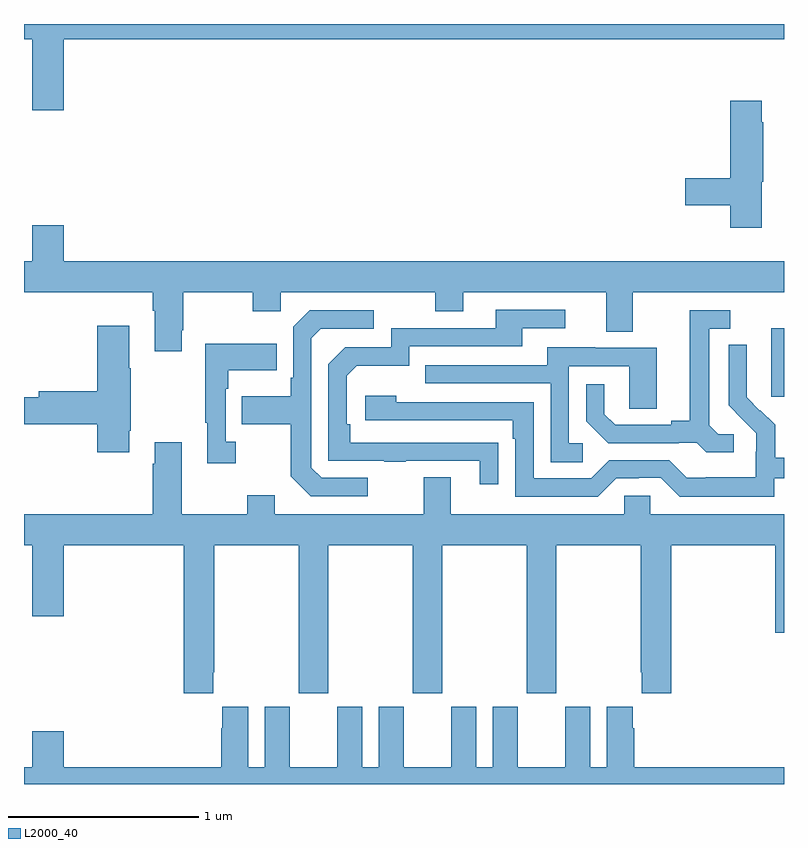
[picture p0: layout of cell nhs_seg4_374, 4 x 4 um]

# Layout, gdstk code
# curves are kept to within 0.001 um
import gdstk
lib = gdstk.Library(unit=1e-6, precision=1e-09)
def R(c, l, rs):  # rectangles x0, y0, x1, y1
    for r in rs: c.add(gdstk.rectangle(r[:2], r[2:], *l))
def P(c, l, *ps):  # polygons
    for p in ps: c.add(gdstk.Polygon(p, *l))
L2000_40 = (2000, 40)

nhs_seg4_374 = lib.new_cell('nhs_seg4_374')
R(nhs_seg4_374, L2000_40, [(132.932,794.937,133,795.298)])
P(nhs_seg4_374, L2000_40, [(129.208,796.82),(133,796.82),(133,796.9),(129,796.9),(129,796.82),(129.044,796.82),(129.044,796.446),(129.208,796.446)],
  [(132.883,796.071),(132.891,796.071),(132.891,796.382),(132.883,796.382),(132.883,796.495),(132.716,796.495),(132.716,796.088),(132.48,796.088),(132.48,795.946),(132.716,795.946),(132.716,795.828),(132.883,795.828)],
  [(129.829,795.289),(129.837,795.289),(129.837,795.488),(130.204,795.488),(130.204,795.389),(130.35,795.389),(130.35,795.488),(131.164,795.488),(131.164,795.389),(131.311,795.389),(131.311,795.488),(132.065,795.488),(132.065,795.28),(132.205,795.28),(132.205,795.488),(133,795.488),(133,795.652),(129.208,795.652),(129.208,795.841),(129.044,795.841),(129.044,795.652),(129,795.652),(129,795.488),(129.677,795.488),(129.677,795.392),(129.689,795.392),(129.689,795.177),(129.829,795.177)],
  [(131.495,794.696),(130.718,794.697),(130.718,794.794),(130.698,794.794),(130.698,795.048),(130.751,795.101),(131.028,795.101),(131.028,795.204),(131.623,795.204),(131.623,795.3),(131.848,795.3),(131.848,795.396),(131.483,795.396),(131.483,795.3),(130.932,795.3),(130.932,795.198),(130.692,795.198),(130.602,795.108),(130.602,794.601),(130.897,794.601),(130.897,794.596),(131.009,794.596),(131.009,794.601),(131.399,794.601),(131.399,794.478),(131.495,794.478)],
  [(130.81,794.511),(130.566,794.511),(130.512,794.565),(130.512,795.246),(130.563,795.297),(130.84,795.297),(130.84,795.393),(130.503,795.393),(130.416,795.306),(130.416,795.037),(130.404,795.037),(130.404,794.941),(130.147,794.941),(130.147,794.794),(130.404,794.794),(130.404,794.521),(130.509,794.415),(130.81,794.415)],
  [(132.736,794.742),(132.654,794.742),(132.607,794.789),(132.607,795.297),(132.718,795.297),(132.718,795.393),(132.503,795.393),(132.503,794.813),(132.407,794.813),(132.407,794.79),(132.112,794.79),(132.055,794.847),(132.055,795.004),(131.958,795.004),(131.958,794.81),(132.074,794.694),(132.446,794.694),(132.446,794.697),(132.54,794.697),(132.592,794.645),(132.736,794.645)],
  [(129.553,794.758),(129.561,794.758),(129.561,795.089),(129.553,795.089),(129.553,795.313),(129.386,795.313),(129.386,794.966),(129.077,794.966),(129.077,794.936),(129,794.936),(129,794.794),(129.386,794.794),(129.386,794.646),(129.553,794.646)],
  [(130.114,794.702),(130.062,794.702),(130.062,794.981),(130.075,794.981),(130.075,795.077),(130.331,795.077),(130.331,795.217),(129.954,795.217),(129.954,794.801),(129.965,794.801),(129.965,794.589),(130.114,794.589)],
  [(132.948,794.508),(133,794.508),(133,794.617),(132.953,794.617),(132.953,794.791),(132.876,794.868),(132.873,794.865),(132.803,794.936),(132.804,795.212),(132.708,795.212),(132.708,794.894),(132.854,794.746),(132.854,794.649),(132.852,794.649),(132.852,794.515),(132.589,794.515),(132.589,794.511),(132.489,794.511),(132.396,794.604),(132.081,794.604),(131.985,794.508),(131.682,794.508),(131.682,794.91),(130.958,794.91),(130.958,794.944),(130.797,794.944),(130.797,794.814),(131.573,794.814),(131.573,794.717),(131.586,794.717),(131.586,794.412),(132.021,794.412),(132.117,794.508),(132.236,794.508),(132.236,794.511),(132.351,794.511),(132.451,794.411),(132.948,794.411)],
  [(131.941,794.694),(131.868,794.694),(131.868,795.099),(132.186,795.099),(132.186,794.875),(132.331,794.875),(132.331,795.195),(132.007,795.195),(132.007,795.199),(131.753,795.199),(131.753,795.105),(131.113,795.105),(131.113,795.009),(131.772,795.009),(131.772,794.593),(131.941,794.593)],
  [(129.997,793.489),(130.002,793.489),(130.002,794.156),(130.447,794.156),(130.447,793.377),(130.602,793.377),(130.602,794.156),(131.047,794.156),(131.047,793.377),(131.202,793.377),(131.202,794.156),(131.647,794.156),(131.647,793.377),(131.802,793.377),(131.802,794.156),(132.247,794.156),(132.247,793.489),(132.251,793.489),(132.251,793.377),(132.407,793.377),(132.407,794.156),(132.953,794.156),(132.953,793.695),(133,793.695),(133,794.32),(132.297,794.32),(132.297,794.418),(132.159,794.418),(132.159,794.32),(131.245,794.32),(131.245,794.515),(131.105,794.515),(131.105,794.32),(130.321,794.32),(130.321,794.419),(130.174,794.419),(130.174,794.32),(129.829,794.32),(129.829,794.698),(129.689,794.698),(129.689,794.585),(129.677,794.585),(129.677,794.32),(129,794.32),(129,794.156),(129.044,794.156),(129.044,793.782),(129.208,793.782),(129.208,794.156),(129.842,794.156),(129.842,793.377),(129.997,793.377)],
  [(133,792.988),(132.212,792.988),(132.212,793.193),(132.205,793.193),(132.205,793.306),(132.068,793.306),(132.068,792.988),(131.98,792.988),(131.98,793.306),(131.849,793.306),(131.849,792.988),(131.599,792.988),(131.599,793.306),(131.468,793.306),(131.468,792.988),(131.38,792.988),(131.38,793.306),(131.249,793.306),(131.249,792.988),(130.999,792.988),(130.999,793.306),(130.868,793.306),(130.868,792.988),(130.78,792.988),(130.78,793.306),(130.649,793.306),(130.649,792.988),(130.399,792.988),(130.399,793.306),(130.268,793.306),(130.268,792.988),(130.18,792.988),(130.18,793.306),(130.043,793.306),(130.043,793.193),(130.037,793.193),(130.037,792.988),(129.208,792.988),(129.208,793.177),(129.044,793.177),(129.044,792.988),(129,792.988),(129,792.9),(133,792.9)])

lib.write_gds('nhs_seg4_374.gds')
